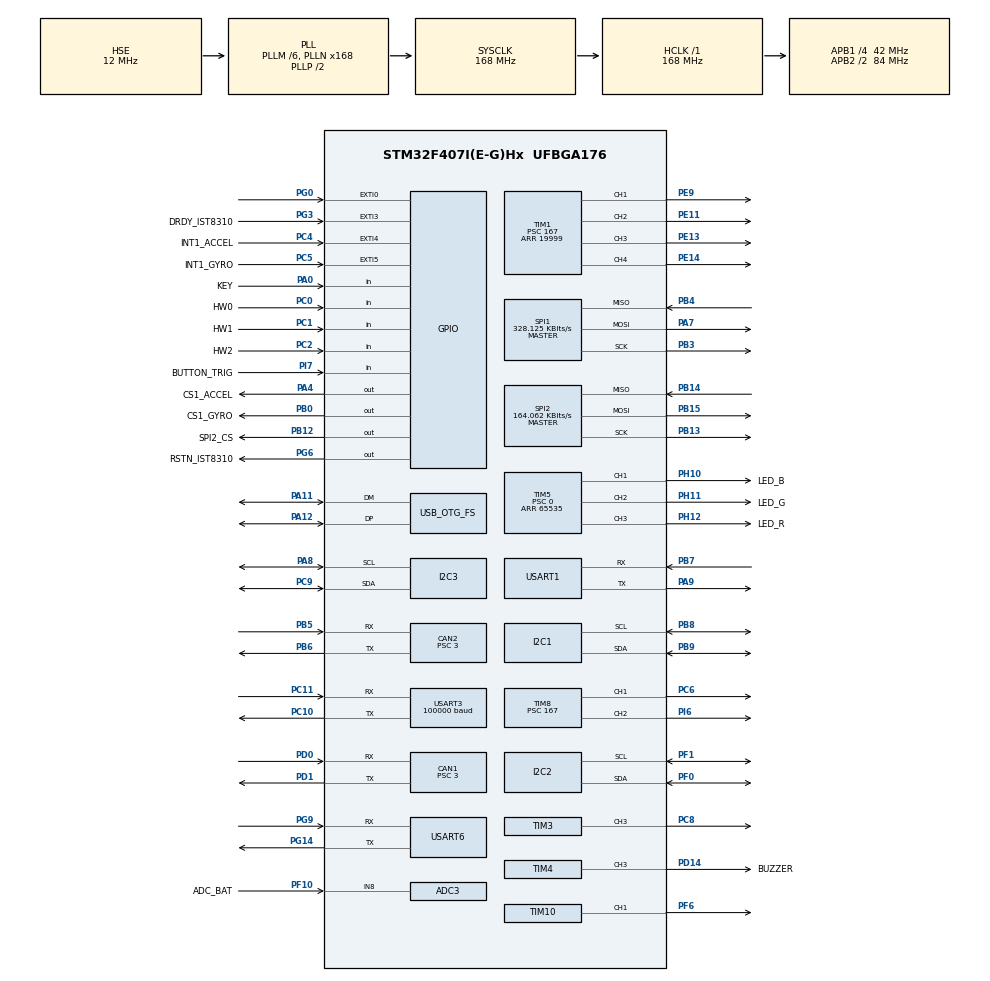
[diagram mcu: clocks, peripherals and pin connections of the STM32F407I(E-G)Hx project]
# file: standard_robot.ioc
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ADC1.Channel-0\#ChannelRegularConversion=ADC_CHANNEL_TEMPSENSOR
ADC1.ClockPrescaler=ADC_CLOCK_SYNC_PCLK_DIV6
ADC1.NbrOfConversionFlag=1
ADC1.Rank-0\#ChannelRegularConversion=1
ADC1.SamplingTime-0\#ChannelRegularConversion=ADC_SAMPLETIME_3CYCLES
ADC1.master=1
ADC3.Channel-0\#ChannelRegularConversion=ADC_CHANNEL_8
ADC3.ClockPrescaler=ADC_CLOCK_SYNC_PCLK_DIV6
ADC3.NbrOfConversionFlag=1
ADC3.Rank-0\#ChannelRegularConversion=1
ADC3.SamplingTime-0\#ChannelRegularConversion=ADC_SAMPLETIME_3CYCLES
CAN1.BS1=CAN_BS1_10TQ
CAN1.BS2=CAN_BS2_3TQ
CAN1.CalculateBaudRate=1000000
CAN1.CalculateTimeQuantum=71.42857142857143
CAN1.Prescaler=3
CAN2.BS1=CAN_BS1_10TQ
CAN2.BS2=CAN_BS2_3TQ
CAN2.CalculateBaudRate=1000000
CAN2.CalculateTimeQuantum=71.42857142857143
CAN2.Prescaler=3
Dma.I2C2_TX.2.Direction=DMA_MEMORY_TO_PERIPH
Dma.I2C2_TX.2.FIFOMode=DMA_FIFOMODE_DISABLE
Dma.I2C2_TX.2.Instance=DMA1_Stream7
Dma.I2C2_TX.2.MemDataAlignment=DMA_MDATAALIGN_BYTE
Dma.I2C2_TX.2.MemInc=DMA_MINC_ENABLE
Dma.I2C2_TX.2.Mode=DMA_NORMAL
Dma.I2C2_TX.2.PeriphDataAlignment=DMA_PDATAALIGN_BYTE
Dma.I2C2_TX.2.PeriphInc=DMA_PINC_DISABLE
Dma.I2C2_TX.2.Priority=DMA_PRIORITY_HIGH
Dma.Request0=SPI1_RX
Dma.Request1=SPI1_TX
Dma.Request2=I2C2_TX
Dma.Request3=USART3_RX
Dma.Request4=USART6_RX
Dma.Request5=USART6_TX
Dma.Request6=USART1_TX
Dma.Request7=USART1_RX
Dma.SPI1_RX.0.Direction=DMA_PERIPH_TO_MEMORY
Dma.SPI1_RX.0.FIFOMode=DMA_FIFOMODE_DISABLE
Dma.SPI1_RX.0.Instance=DMA2_Stream2
Dma.SPI1_RX.0.MemDataAlignment=DMA_MDATAALIGN_BYTE
Dma.SPI1_RX.0.MemInc=DMA_MINC_ENABLE
Dma.SPI1_RX.0.Mode=DMA_NORMAL
Dma.SPI1_RX.0.PeriphDataAlignment=DMA_PDATAALIGN_BYTE
Dma.SPI1_RX.0.PeriphInc=DMA_PINC_DISABLE
Dma.SPI1_RX.0.Priority=DMA_PRIORITY_VERY_HIGH
Dma.SPI1_TX.1.Direction=DMA_MEMORY_TO_PERIPH
Dma.SPI1_TX.1.FIFOMode=DMA_FIFOMODE_DISABLE
Dma.SPI1_TX.1.Instance=DMA2_Stream3
Dma.SPI1_TX.1.MemDataAlignment=DMA_MDATAALIGN_BYTE
Dma.SPI1_TX.1.MemInc=DMA_MINC_ENABLE
Dma.SPI1_TX.1.Mode=DMA_NORMAL
Dma.SPI1_TX.1.PeriphDataAlignment=DMA_PDATAALIGN_BYTE
Dma.SPI1_TX.1.PeriphInc=DMA_PINC_DISABLE
Dma.SPI1_TX.1.Priority=DMA_PRIORITY_HIGH
Dma.USART1_RX.7.Direction=DMA_PERIPH_TO_MEMORY
Dma.USART1_RX.7.FIFOMode=DMA_FIFOMODE_DISABLE
Dma.USART1_RX.7.Instance=DMA2_Stream5
Dma.USART1_RX.7.MemDataAlignment=DMA_MDATAALIGN_BYTE
Dma.USART1_RX.7.MemInc=DMA_MINC_ENABLE
Dma.USART1_RX.7.Mode=DMA_NORMAL
Dma.USART1_RX.7.PeriphDataAlignment=DMA_PDATAALIGN_BYTE
Dma.USART1_RX.7.PeriphInc=DMA_PINC_DISABLE
Dma.USART1_RX.7.Priority=DMA_PRIORITY_MEDIUM
Dma.USART1_TX.6.Direction=DMA_MEMORY_TO_PERIPH
Dma.USART1_TX.6.FIFOMode=DMA_FIFOMODE_DISABLE
Dma.USART1_TX.6.Instance=DMA2_Stream7
Dma.USART1_TX.6.MemDataAlignment=DMA_MDATAALIGN_BYTE
Dma.USART1_TX.6.MemInc=DMA_MINC_ENABLE
Dma.USART1_TX.6.Mode=DMA_NORMAL
Dma.USART1_TX.6.PeriphDataAlignment=DMA_PDATAALIGN_BYTE
Dma.USART1_TX.6.PeriphInc=DMA_PINC_DISABLE
Dma.USART1_TX.6.Priority=DMA_PRIORITY_MEDIUM
Dma.USART3_RX.3.Direction=DMA_PERIPH_TO_MEMORY
Dma.USART3_RX.3.FIFOMode=DMA_FIFOMODE_DISABLE
Dma.USART3_RX.3.Instance=DMA1_Stream1
Dma.USART3_RX.3.MemDataAlignment=DMA_MDATAALIGN_BYTE
Dma.USART3_RX.3.MemInc=DMA_MINC_ENABLE
Dma.USART3_RX.3.Mode=DMA_NORMAL
Dma.USART3_RX.3.PeriphDataAlignment=DMA_PDATAALIGN_BYTE
Dma.USART3_RX.3.PeriphInc=DMA_PINC_DISABLE
Dma.USART3_RX.3.Priority=DMA_PRIORITY_HIGH
Dma.USART6_RX.4.Direction=DMA_PERIPH_TO_MEMORY
Dma.USART6_RX.4.FIFOMode=DMA_FIFOMODE_DISABLE
Dma.USART6_RX.4.Instance=DMA2_Stream1
Dma.USART6_RX.4.MemDataAlignment=DMA_MDATAALIGN_BYTE
Dma.USART6_RX.4.MemInc=DMA_MINC_ENABLE
Dma.USART6_RX.4.Mode=DMA_NORMAL
Dma.USART6_RX.4.PeriphDataAlignment=DMA_PDATAALIGN_BYTE
Dma.USART6_RX.4.PeriphInc=DMA_PINC_DISABLE
Dma.USART6_RX.4.Priority=DMA_PRIORITY_HIGH
Dma.USART6_TX.5.Direction=DMA_MEMORY_TO_PERIPH
Dma.USART6_TX.5.FIFOMode=DMA_FIFOMODE_DISABLE
Dma.USART6_TX.5.Instance=DMA2_Stream6
Dma.USART6_TX.5.MemDataAlignment=DMA_MDATAALIGN_BYTE
Dma.USART6_TX.5.MemInc=DMA_MINC_ENABLE
Dma.USART6_TX.5.Mode=DMA_NORMAL
Dma.USART6_TX.5.PeriphDataAlignment=DMA_PDATAALIGN_BYTE
Dma.USART6_TX.5.PeriphInc=DMA_PINC_DISABLE
Dma.USART6_TX.5.Priority=DMA_PRIORITY_MEDIUM
FREERTOS.INCLUDE_eTaskGetState=1
FREERTOS.INCLUDE_pcTaskGetTaskName=1
FREERTOS.INCLUDE_uxTaskGetStackHighWaterMark=1
FREERTOS.INCLUDE_vTaskCleanUpResources=1
FREERTOS.INCLUDE_vTaskDelayUntil=1
FREERTOS.INCLUDE_xEventGroupSetBitFromISR=1
FREERTOS.INCLUDE_xQueueGetMutexHolder=1
FREERTOS.INCLUDE_xSemaphoreGetMutexHolder=1
FREERTOS.INCLUDE_xTaskAbortDelay=1
FREERTOS.INCLUDE_xTaskGetCurrentTaskHandle=1
FREERTOS.INCLUDE_xTaskGetHandle=1
FREERTOS.INCLUDE_xTimerPendFunctionCall=1
FREERTOS.Tasks01=test,24,128,test_task,As weak,NULL,Dynamic,NULL,NULL
FREERTOS.configTOTAL_HEAP_SIZE=24576
I2C1.I2C_Mode=I2C_Fast
I2C2.I2C_Mode=I2C_Fast
I2C3.I2C_Mode=I2C_Fast
Mcu.Family=STM32F4
Mcu.Name=STM32F407I(E-G)Hx
Mcu.Package=UFBGA176
NVIC.CAN1_RX0_IRQn=true\:6\:0\:true\:false\:true\:true\:true\:true\:true
NVIC.CAN2_RX0_IRQn=true\:6\:0\:true\:false\:true\:true\:true\:true\:true
NVIC.DMA1_Stream1_IRQn=true\:5\:0\:true\:false\:false\:true\:false\:false\:true
NVIC.DMA1_Stream7_IRQn=true\:5\:0\:true\:false\:false\:true\:false\:true\:true
NVIC.DMA2_Stream1_IRQn=true\:5\:0\:true\:false\:true\:true\:false\:true\:true
NVIC.DMA2_Stream2_IRQn=true\:5\:0\:true\:false\:false\:true\:false\:true\:true
NVIC.DMA2_Stream3_IRQn=true\:5\:0\:true\:false\:false\:true\:false\:true\:true
NVIC.DMA2_Stream5_IRQn=true\:5\:0\:false\:false\:true\:true\:false\:true\:true
NVIC.DMA2_Stream6_IRQn=true\:5\:0\:true\:false\:true\:true\:false\:true\:true
NVIC.DMA2_Stream7_IRQn=true\:5\:0\:true\:false\:true\:true\:false\:true\:true
NVIC.EXTI0_IRQn=true\:6\:0\:true\:false\:true\:true\:true\:true\:true
NVIC.EXTI3_IRQn=true\:5\:0\:true\:false\:true\:true\:true\:true\:true
NVIC.EXTI4_IRQn=true\:5\:0\:true\:false\:true\:true\:true\:true\:true
NVIC.EXTI9_5_IRQn=true\:5\:0\:true\:false\:true\:true\:true\:true\:true
NVIC.OTG_FS_IRQn=true\:5\:0\:false\:false\:true\:true\:false\:true\:true
NVIC.PriorityGroup=NVIC_PRIORITYGROUP_4
NVIC.USART1_IRQn=true\:5\:0\:false\:false\:true\:true\:true\:true\:true
NVIC.USART3_IRQn=true\:4\:0\:true\:false\:false\:false\:true\:true\:true
NVIC.USART6_IRQn=true\:5\:0\:true\:false\:false\:true\:true\:true\:true
PA0-WKUP.GPIO_Label=KEY
PA0-WKUP.GPIO_PuPd=GPIO_PULLUP
PA0-WKUP.Signal=GPIO_Input
PA11.Mode=Device_Only
PA11.Signal=USB_OTG_FS_DM
PA12.Mode=Device_Only
PA12.Signal=USB_OTG_FS_DP
PA13.Mode=Serial_Wire
PA13.Signal=SYS_JTMS-SWDIO
PA14.Mode=Serial_Wire
PA14.Signal=SYS_JTCK-SWCLK
PA4.GPIO_Label=CS1_ACCEL
PA4.GPIO_PuPd=GPIO_PULLUP
PA4.GPIO_Speed=GPIO_SPEED_FREQ_HIGH
PA4.PinState=GPIO_PIN_SET
PA4.Signal=GPIO_Output
PA7.GPIO_PuPd=GPIO_PULLUP
PA7.Mode=Full_Duplex_Master
PA7.Signal=SPI1_MOSI
PA8.GPIO_Pu=GPIO_PULLUP
PA8.Mode=I2C
PA8.Signal=I2C3_SCL
PA9.Mode=Asynchronous
PA9.Signal=USART1_TX
PB0.GPIO_Label=CS1_GYRO
PB0.GPIO_PuPd=GPIO_PULLUP
PB0.GPIO_Speed=GPIO_SPEED_FREQ_HIGH
PB0.PinState=GPIO_PIN_SET
PB0.Signal=GPIO_Output
PB12.GPIO_Label=SPI2_CS
PB12.GPIO_PuPd=GPIO_PULLUP
PB12.GPIO_Speed=GPIO_SPEED_FREQ_MEDIUM
PB12.PinState=GPIO_PIN_SET
PB12.Signal=GPIO_Output
PB13.GPIO_PuPd=GPIO_PULLUP
PB13.Mode=Full_Duplex_Master
PB13.Signal=SPI2_SCK
PB14.GPIO_PuPd=GPIO_PULLUP
PB14.Mode=Full_Duplex_Master
PB14.Signal=SPI2_MISO
PB15.GPIO_PuPd=GPIO_PULLUP
PB15.Mode=Full_Duplex_Master
PB15.Signal=SPI2_MOSI
PB3.GPIO_PuPd=GPIO_PULLUP
PB3.Mode=Full_Duplex_Master
PB3.Signal=SPI1_SCK
PB4.GPIO_PuPd=GPIO_PULLUP
PB4.Mode=Full_Duplex_Master
PB4.Signal=SPI1_MISO
PB5.Mode=CAN_Activate
PB5.Signal=CAN2_RX
PB6.Mode=CAN_Activate
PB6.Signal=CAN2_TX
PB7.Mode=Asynchronous
PB7.Signal=USART1_RX
PB8.GPIO_Pu=GPIO_PULLUP
PB8.Mode=I2C
PB8.Signal=I2C1_SCL
PB9.GPIO_Pu=GPIO_PULLUP
PB9.Mode=I2C
PB9.Signal=I2C1_SDA
PC0.GPIO_Label=HW0
PC0.Signal=GPIO_Input
PC1.GPIO_Label=HW1
PC1.Signal=GPIO_Input
PC10.Mode=Asynchronous
PC10.Signal=USART3_TX
PC11.Mode=Asynchronous
PC11.Signal=USART3_RX
PC2.GPIO_Label=HW2
PC2.Signal=GPIO_Input
PC4.GPIO_Label=INT1_ACCEL
PC4.GPIO_ModeDefaultEXTI=GPIO_MODE_IT_FALLING
PC4.GPIO_PuPd=GPIO_PULLUP
PC4.Signal=GPXTI4
PC5.GPIO_Label=INT1_GYRO
PC5.GPIO_ModeDefaultEXTI=GPIO_MODE_IT_FALLING
PC5.GPIO_PuPd=GPIO_PULLUP
PC5.Signal=GPXTI5
PC6.GPIO_PuPd=GPIO_PULLUP
PC6.GPIO_Speed=GPIO_SPEED_FREQ_HIGH
PC6.Signal=S_TIM8_CH1
PC8.GPIO_PuPd=GPIO_PULLUP
PC8.GPIO_Speed=GPIO_SPEED_FREQ_HIGH
PC8.Signal=S_TIM3_CH3
PC9.GPIO_Pu=GPIO_PULLUP
PC9.Mode=I2C
PC9.Signal=I2C3_SDA
PD0.Mode=CAN_Activate
PD0.Signal=CAN1_RX
PD1.Mode=CAN_Activate
PD1.Signal=CAN1_TX
PD14.GPIO_Label=BUZZER
PD14.GPIO_PuPd=GPIO_PULLUP
PD14.GPIO_Speed=GPIO_SPEED_FREQ_VERY_HIGH
PD14.Signal=S_TIM4_CH3
PE11.GPIO_PuPd=GPIO_PULLUP
PE11.GPIO_Speed=GPIO_SPEED_FREQ_HIGH
PE11.Signal=S_TIM1_CH2
PE13.GPIO_PuPd=GPIO_PULLUP
PE13.GPIO_Speed=GPIO_SPEED_FREQ_HIGH
PE13.Signal=S_TIM1_CH3
PE14.GPIO_PuPd=GPIO_PULLUP
PE14.GPIO_Speed=GPIO_SPEED_FREQ_HIGH
PE14.Signal=S_TIM1_CH4
PE9.GPIO_PuPd=GPIO_PULLUP
PE9.GPIO_Speed=GPIO_SPEED_FREQ_HIGH
PE9.Signal=S_TIM1_CH1
PF0.GPIO_Pu=GPIO_PULLUP
PF0.Mode=I2C
PF0.Signal=I2C2_SDA
PF1.GPIO_Pu=GPIO_PULLUP
PF1.Mode=I2C
PF1.Signal=I2C2_SCL
PF10.GPIO_Label=ADC_BAT
PF10.Mode=IN8
PF10.Signal=ADC3_IN8
PF6.GPIO_PuPd=GPIO_PULLUP
PF6.GPIO_Speed=GPIO_SPEED_FREQ_HIGH
PF6.Signal=S_TIM10_CH1
PG0.GPIO_ModeDefaultEXTI=GPIO_MODE_IT_FALLING
PG0.GPIO_PuPd=GPIO_PULLUP
PG0.Signal=GPXTI0
PG14.Mode=Asynchronous
PG14.Signal=USART6_TX
PG3.GPIO_Label=DRDY_IST8310
PG3.GPIO_ModeDefaultEXTI=GPIO_MODE_IT_FALLING
PG3.GPIO_PuPd=GPIO_PULLUP
PG3.Signal=GPXTI3
PG6.GPIO_Label=RSTN_IST8310
PG6.GPIO_PuPd=GPIO_PULLUP
PG6.GPIO_Speed=GPIO_SPEED_FREQ_MEDIUM
PG6.PinState=GPIO_PIN_SET
PG6.Signal=GPIO_Output
PG9.Mode=Asynchronous
PG9.Signal=USART6_RX
PH0-OSC_IN.Mode=HSE-External-Oscillator
PH0-OSC_IN.Signal=RCC_OSC_IN
PH1-OSC_OUT.Mode=HSE-External-Oscillator
PH1-OSC_OUT.Signal=RCC_OSC_OUT
PH10.GPIO_Label=LED_B
PH10.GPIO_PuPd=GPIO_PULLUP
PH10.GPIO_Speed=GPIO_SPEED_FREQ_HIGH
PH10.Signal=S_TIM5_CH1
PH11.GPIO_Label=LED_G
PH11.GPIO_PuPd=GPIO_PULLUP
PH11.GPIO_Speed=GPIO_SPEED_FREQ_HIGH
PH11.Signal=S_TIM5_CH2
PH12.GPIO_Label=LED_R
PH12.GPIO_PuPd=GPIO_PULLUP
PH12.GPIO_Speed=GPIO_SPEED_FREQ_HIGH
PH12.Signal=S_TIM5_CH3
PI6.GPIO_PuPd=GPIO_PULLUP
PI6.GPIO_Speed=GPIO_SPEED_FREQ_HIGH
PI6.Signal=S_TIM8_CH2
PI7.GPIO_Label=BUTTON_TRIG
PI7.GPIO_PuPd=GPIO_PULLUP
PI7.Signal=GPIO_Input
ProjectManager.HeapSize=0x2000
ProjectManager.StackSize=0x2000
ProjectManager.TargetToolchain=MDK-ARM V5
RCC.48MHZClocksFreq_Value=48000000
RCC.AHBFreq_Value=168000000
RCC.APB1CLKDivider=RCC_HCLK_DIV4
RCC.APB1Freq_Value=42000000
RCC.APB1TimFreq_Value=84000000
RCC.APB2CLKDivider=RCC_HCLK_DIV2
RCC.APB2Freq_Value=84000000
RCC.APB2TimFreq_Value=168000000
RCC.CortexFreq_Value=168000000
RCC.HCLKFreq_Value=168000000
RCC.HSE_VALUE=12000000
RCC.HSI_VALUE=16000000
RCC.LSE_VALUE=32768
RCC.PLLM=6
RCC.PLLN=168
RCC.PLLQ=7
RCC.RCC_RTC_Clock_SourceVirtual=RCC_RTCCLKSOURCE_HSE_DIV30
RCC.RCC_RTC_Clock_Source_FROM_HSE=RCC_RTCCLKSOURCE_HSE_DIV30
RCC.SYSCLKFreq_VALUE=168000000
RCC.SYSCLKSource=RCC_SYSCLKSOURCE_PLLCLK
RCC.VCOOutputFreq_Value=336000000
RTC.AsynchPrediv=124
RTC.SynchPrediv=3199
SH.S_TIM10_CH1.0=TIM10_CH1,PWM Generation1 CH1
SH.S_TIM1_CH1.0=TIM1_CH1,PWM Generation1 CH1
SH.S_TIM1_CH2.0=TIM1_CH2,PWM Generation2 CH2
SH.S_TIM1_CH3.0=TIM1_CH3,PWM Generation3 CH3
SH.S_TIM1_CH4.0=TIM1_CH4,PWM Generation4 CH4
SH.S_TIM3_CH3.0=TIM3_CH3,PWM Generation3 CH3
SH.S_TIM4_CH3.0=TIM4_CH3,PWM Generation3 CH3
SH.S_TIM5_CH1.0=TIM5_CH1,PWM Generation1 CH1
SH.S_TIM5_CH2.0=TIM5_CH2,PWM Generation2 CH2
SH.S_TIM5_CH3.0=TIM5_CH3,PWM Generation3 CH3
SH.S_TIM8_CH1.0=TIM8_CH1,PWM Generation1 CH1
SH.S_TIM8_CH2.0=TIM8_CH2,PWM Generation2 CH2
SPI1.BaudRatePrescaler=SPI_BAUDRATEPRESCALER_256
SPI1.CLKPhase=SPI_PHASE_2EDGE
SPI1.CLKPolarity=SPI_POLARITY_HIGH
SPI1.CalculateBaudRate=328.125 KBits/s
SPI1.Direction=SPI_DIRECTION_2LINES
SPI1.Mode=SPI_MODE_MASTER
SPI1.VirtualType=VM_MASTER
SPI2.BaudRatePrescaler=SPI_BAUDRATEPRESCALER_256
SPI2.CLKPhase=SPI_PHASE_2EDGE
SPI2.CLKPolarity=SPI_POLARITY_HIGH
SPI2.CalculateBaudRate=164.062 KBits/s
SPI2.Direction=SPI_DIRECTION_2LINES
SPI2.Mode=SPI_MODE_MASTER
SPI2.VirtualType=VM_MASTER
TIM1.Channel-PWM\ Generation1\ CH1=TIM_CHANNEL_1
TIM1.Channel-PWM\ Generation2\ CH2=TIM_CHANNEL_2
TIM1.Channel-PWM\ Generation3\ CH3=TIM_CHANNEL_3
TIM1.Channel-PWM\ Generation4\ CH4=TIM_CHANNEL_4
TIM1.Period=19999
TIM1.Prescaler=167
TIM1.Pulse-PWM\ Generation1\ CH1=1000
TIM1.Pulse-PWM\ Generation2\ CH2=1000
TIM1.Pulse-PWM\ Generation3\ CH3=1000
TIM1.Pulse-PWM\ Generation4\ CH4=1000
TIM10.Channel=TIM_CHANNEL_1
TIM10.Period=4999
TIM3.Channel-PWM\ Generation3\ CH3=TIM_CHANNEL_3
TIM3.Period=8399
TIM4.Channel-PWM\ Generation3\ CH3=TIM_CHANNEL_3
TIM4.Period=65535
TIM4.Prescaler=167
TIM5.Channel-PWM\ Generation1\ CH1=TIM_CHANNEL_1
TIM5.Channel-PWM\ Generation2\ CH2=TIM_CHANNEL_2
TIM5.Channel-PWM\ Generation3\ CH3=TIM_CHANNEL_3
TIM5.Period=65535
TIM5.Prescaler=0
TIM8.Channel-PWM\ Generation1\ CH1=TIM_CHANNEL_1
TIM8.Channel-PWM\ Generation2\ CH2=TIM_CHANNEL_2
TIM8.Period=19999
TIM8.Prescaler=167
TIM8.Pulse-PWM\ Generation1\ CH1=1000
TIM8.Pulse-PWM\ Generation2\ CH2=1000
USART1.VirtualMode=VM_ASYNC
USART3.BaudRate=100000
USART3.Parity=PARITY_EVEN
USART3.VirtualMode=VM_ASYNC
USART6.VirtualMode=VM_ASYNC
USB_DEVICE.CLASS_NAME_FS=CDC
USB_DEVICE.VirtualMode-CDC_FS=Cdc
USB_DEVICE.VirtualModeFS=Cdc_FS
USB_OTG_FS.VirtualMode=Device_Only
VP_ADC1_TempSens_Input.Mode=IN-TempSens
VP_ADC1_Vref_Input.Mode=IN-Vrefint
VP_CRC_VS_CRC.Mode=CRC_Activate
VP_FREERTOS_VS_CMSIS_V1.Mode=CMSIS_V1
VP_RNG_VS_RNG.Mode=RNG_Activate
VP_RTC_VS_RTC_Activate.Mode=RTC_Enabled
VP_TIM10_VS_ClockSourceINT.Mode=Enable_Timer
VP_TIM1_VS_ClockSourceINT.Mode=Internal
VP_TIM3_VS_ClockSourceINT.Mode=Internal
VP_TIM4_VS_ClockSourceINT.Mode=Internal
VP_TIM5_VS_ClockSourceINT.Mode=Internal
VP_TIM8_VS_ClockSourceINT.Mode=Internal
VP_USB_DEVICE_VS_USB_DEVICE_CDC_FS.Mode=CDC_FS
board=custom

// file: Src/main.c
#include "main.h"
#include "cmsis_os.h"
#include "adc.h"
#include "can.h"
#include "crc.h"
#include "dma.h"
#include "i2c.h"
#include "rng.h"
#include "rtc.h"
#include "spi.h"
#include "tim.h"
#include "usart.h"
#include "usb_device.h"
#include "gpio.h"

/* USER CODE BEGIN Includes */
#include "bsp_can.h"
#include "bsp_delay.h"
#include "bsp_usart.h"
#include "remote_control.h"

#include "calibrate_task.h"
#include "chassis_task.h"
#include "detect_task.h"
#include "gimbal_task.h"
#include "INS_task.h"
#include "led_flow_task.h"
#include "oled_task.h"
#include "referee_usart_task.h"
#include "usb_task.h"
#include "voltage_task.h"
#include <stdio.h>
/* USER CODE END Includes */

void SystemClock_Config(void);
void MX_FREERTOS_Init(void);

int main(void)
{

  /* MCU Configuration--------------------------------------------------------*/

  /* Reset of all peripherals, Initializes the Flash interface and the Systick. */
 HAL_Init();

  /* Configure the system clock */
  SystemClock_Config();

  /* Initialize all configured peripherals */
  MX_GPIO_Init();
  MX_DMA_Init();
  MX_ADC1_Init();
  MX_ADC3_Init();
  MX_CAN1_Init();
  MX_CAN2_Init();
  MX_I2C1_Init();
  MX_SPI1_Init();
  MX_TIM4_Init();
  MX_TIM5_Init();
  MX_USART3_UART_Init();
  MX_TIM8_Init();
  MX_CRC_Init();
  MX_RNG_Init();
  MX_I2C2_Init();
  MX_I2C3_Init();
  MX_RTC_Init();
  MX_SPI2_Init();
  MX_TIM1_Init();
  MX_TIM3_Init();
  MX_TIM10_Init();
  MX_USART1_UART_Init();
  MX_USART6_UART_Init();
//   cali_buzzer_off();
  /* USER CODE BEGIN 2 */
    can_filter_init();
    delay_init();
    cali_param_init();
    remote_control_init();
    usart1_tx_dma_init();
  /* USER CODE END 2 */

//  /* Call init function for freertos objects (in freertos.c) */
  MX_FREERTOS_Init();

  /* Start scheduler */
  osKernelStart();

  /* We should never get here as control is now taken by the scheduler */

  /* Infinite loop */
  /* USER CODE BEGIN WHILE */
  while (1)
  {

//		S_POWER_ban(1,1);
//		int16_t	data1=0x520;
//		int16_t data2=0x521;
//		int16_t data3=0x250;
//		int16_t data4=0x439;
//		CAN_C_ban(data1, data2,  data3,  data4);
//		HAL_CAN_AddTxMessage(205, 1, 2, 3);
//		 CAN_cmd_chassis(800, 800, 800, 800);

    /* USER CODE END WHILE */

  }
}

void SystemClock_Config(void)
{
  RCC_OscInitTypeDef RCC_OscInitStruct = {0};
  RCC_ClkInitTypeDef RCC_ClkInitStruct = {0};
  RCC_PeriphCLKInitTypeDef PeriphClkInitStruct = {0};

  /** Configure the main internal regulator output voltage
  */
  __HAL_RCC_PWR_CLK_ENABLE();
  __HAL_PWR_VOLTAGESCALING_CONFIG(PWR_REGULATOR_VOLTAGE_SCALE1);
  /** Initializes the CPU, AHB and APB busses clocks
  */
  RCC_OscInitStruct.OscillatorType = RCC_OSCILLATORTYPE_HSE;
  RCC_OscInitStruct.HSEState = RCC_HSE_ON;
  RCC_OscInitStruct.PLL.PLLState = RCC_PLL_ON;
  RCC_OscInitStruct.PLL.PLLSource = RCC_PLLSOURCE_HSE;
  RCC_OscInitStruct.PLL.PLLM = 6;
  RCC_OscInitStruct.PLL.PLLN = 168;
  RCC_OscInitStruct.PLL.PLLP = RCC_PLLP_DIV2;
  RCC_OscInitStruct.PLL.PLLQ = 7;
  if (HAL_RCC_OscConfig(&RCC_OscInitStruct) != HAL_OK)
  {
    Error_Handler();
  }
  /** Initializes the CPU, AHB and APB busses clocks
  */
  RCC_ClkInitStruct.ClockType = RCC_CLOCKTYPE_HCLK|RCC_CLOCKTYPE_SYSCLK
                              |RCC_CLOCKTYPE_PCLK1|RCC_CLOCKTYPE_PCLK2;
  RCC_ClkInitStruct.SYSCLKSource = RCC_SYSCLKSOURCE_PLLCLK;
  RCC_ClkInitStruct.AHBCLKDivider = RCC_SYSCLK_DIV1;
  RCC_ClkInitStruct.APB1CLKDivider = RCC_HCLK_DIV4;
  RCC_ClkInitStruct.APB2CLKDivider = RCC_HCLK_DIV2;

  if (HAL_RCC_ClockConfig(&RCC_ClkInitStruct, FLASH_LATENCY_5) != HAL_OK)
  {
    Error_Handler();
  }
  PeriphClkInitStruct.PeriphClockSelection = RCC_PERIPHCLK_RTC;
  PeriphClkInitStruct.RTCClockSelection = RCC_RTCCLKSOURCE_HSE_DIV30;
  if (HAL_RCCEx_PeriphCLKConfig(&PeriphClkInitStruct) != HAL_OK)
  {
    Error_Handler();
  }
}

void Error_Handler(void)
{
}

/************************ (C) COPYRIGHT STMicroelectronics *****END OF FILE****/

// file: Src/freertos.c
/* USER CODE BEGIN Header */
/**
  ******************************************************************************
  * File Name          : freertos.c
  * Description        : Code for freertos applications
  ******************************************************************************
  * @attention
  *
  * <h2><center>&copy; Copyright (c) 2019 STMicroelectronics.
  * All rights reserved.</center></h2>
  *
  * This software component is licensed by ST under Ultimate Liberty license
  * SLA0044, the "License"; You may not use this file except in compliance with
  * the License. You may obtain a copy of the License at:
  *                             www.st.com/SLA0044
  *
  ******************************************************************************
  */
/* USER CODE END Header */

#include "FreeRTOS.h"
#include "task.h"
#include "main.h"
#include "cmsis_os.h"

/* USER CODE BEGIN Includes */

#include "calibrate_task.h"
#include "chassis_task.h"
#include "detect_task.h"
#include "gimbal_task.h"
#include "INS_task.h"
#include "led_flow_task.h"
#include "oled_task.h"
#include "referee_usart_task.h"
#include "usb_task.h"
#include "voltage_task.h"
#include "MainFocus_task.h"
#include "Referee_DispatchTask.h"
#include "shoot.h"

/* USER CODE END Includes */

/* USER CODE BEGIN PTD */

osThreadId calibrate_tast_handle;
osThreadId chassisTaskHandle;
osThreadId detect_handle;
osThreadId gimbalTaskHandle;
osThreadId shootTaskHandle;
osThreadId imuTaskHandle;
osThreadId led_RGB_flow_handle;
osThreadId oled_handle;
osThreadId referee_usart_task_handle;
osThreadId usb_task_handle;
osThreadId battery_voltage_handle;
osThreadId mainFocus_task_handle;
osThreadId Send_ClientData_Task_handle;

/* USER CODE END PTD */

osThreadId testHandle;

void test_task(void const * argument);

extern void MX_USB_DEVICE_Init(void);
void MX_FREERTOS_Init(void); /* (MISRA C 2004 rule 8.1) */

/* GetIdleTaskMemory prototype (linked to static allocation support) */
void vApplicationGetIdleTaskMemory( StaticTask_t **ppxIdleTaskTCBBuffer, StackType_t **ppxIdleTaskStackBuffer, uint32_t *pulIdleTaskStackSize );

/* GetTimerTaskMemory prototype (linked to static allocation support) */
void vApplicationGetTimerTaskMemory( StaticTask_t **ppxTimerTaskTCBBuffer, StackType_t **ppxTimerTaskStackBuffer, uint32_t *pulTimerTaskStackSize );

/* USER CODE BEGIN GET_IDLE_TASK_MEMORY */
static StaticTask_t xIdleTaskTCBBuffer;
static StackType_t xIdleStack[configMINIMAL_STACK_SIZE];

void vApplicationGetIdleTaskMemory( StaticTask_t **ppxIdleTaskTCBBuffer, StackType_t **ppxIdleTaskStackBuffer, uint32_t *pulIdleTaskStackSize )
{
  *ppxIdleTaskTCBBuffer = &xIdleTaskTCBBuffer;
  *ppxIdleTaskStackBuffer = &xIdleStack[0];
  *pulIdleTaskStackSize = configMINIMAL_STACK_SIZE;
  /* place for user code */
}
/* USER CODE END GET_IDLE_TASK_MEMORY */

/* USER CODE BEGIN GET_TIMER_TASK_MEMORY */
static StaticTask_t xTimerTaskTCBBuffer;
static StackType_t xTimerStack[configTIMER_TASK_STACK_DEPTH];

void vApplicationGetTimerTaskMemory( StaticTask_t **ppxTimerTaskTCBBuffer, StackType_t **ppxTimerTaskStackBuffer, uint32_t *pulTimerTaskStackSize )
{
  *ppxTimerTaskTCBBuffer = &xTimerTaskTCBBuffer;
  *ppxTimerTaskStackBuffer = &xTimerStack[0];
  *pulTimerTaskStackSize = configTIMER_TASK_STACK_DEPTH;
  /* place for user code */
}
/* USER CODE END GET_TIMER_TASK_MEMORY */

void MX_FREERTOS_Init(void) {

  /* Create the thread(s) */
  /* definition and creation of test */
  osThreadDef(test, test_task, osPriorityNormal, 0, 128);
  testHandle = osThreadCreate(osThread(test), NULL);

  /* USER CODE BEGIN RTOS_THREADS */
  /* add threads, ... */

    // У׼����
    osThreadDef(cali, calibrate_task, osPriorityNormal, 0, 512);
    calibrate_tast_handle = osThreadCreate(osThread(cali), NULL);

    // ����������
    osThreadDef(imuTask, INS_task, osPriorityRealtime, 0, 1024);
    imuTaskHandle = osThreadCreate(osThread(imuTask), NULL);

    // ��������
    osThreadDef(ChassisTask, chassis_task, osPriorityAboveNormal, 0, 512);
    chassisTaskHandle = osThreadCreate(osThread(ChassisTask), NULL);

    // ��̨����
    osThreadDef(gimbalTask, gimbal_task, osPriorityHigh, 0, 512);
    gimbalTaskHandle = osThreadCreate(osThread(gimbalTask), NULL);

    // �������
    osThreadDef(shootTask, shoot_task, osPriorityHigh, 0, 128);
    shootTaskHandle = osThreadCreate(osThread(shootTask), NULL);

    // ��������
    osThreadDef(MainFocus, MainFocus_task, osPriorityNormal, 0, 128);
    mainFocus_task_handle = osThreadCreate(osThread(MainFocus), NULL);

    // UI��������
	osThreadDef(Send_ClientData, Send_ClientData_Task, osPriorityNormal, 0, 128);
    Send_ClientData_Task_handle = osThreadCreate(osThread(Send_ClientData), NULL);

    // led RGB����
    osThreadDef(led, led_RGB_flow_task, osPriorityLow, 0, 256);
    led_RGB_flow_handle = osThreadCreate(osThread(led), NULL);

    // �������
    osThreadDef(DETECT, detect_task, osPriorityNormal, 0, 256);
    detect_handle = osThreadCreate(osThread(DETECT), NULL);

//    // OLED��ʾ������
    osThreadDef(OLED, oled_task, osPriorityLow, 0, 256);
    oled_handle = osThreadCreate(osThread(OLED), NULL);

    // ����ϵͳ����
    osThreadDef(REFEREE, referee_usart_task, osPriorityNormal, 0, 128);
    referee_usart_task_handle = osThreadCreate(osThread(REFEREE), NULL);

//    osThreadDef(USBTask, usb_task, osPriorityNormal, 0, 128);
//    usb_task_handle = osThreadCreate(osThread(USBTask), NULL);

//    // ��Դ�����ͼ����Դ�ٷֱ�����
//    osThreadDef(BATTERY_VOLTAGE, battery_voltage_task, osPriorityNormal, 0, 128);
//    battery_voltage_handle = osThreadCreate(osThread(BATTERY_VOLTAGE), NULL);

  /* USER CODE END RTOS_THREADS */

}

__weak void test_task(void const * argument)
{
  /* init code for USB_DEVICE */
  MX_USB_DEVICE_Init();

  for(;;)
  {
    osDelay(1);
  }
}

/************************ (C) COPYRIGHT STMicroelectronics *****END OF FILE****/
